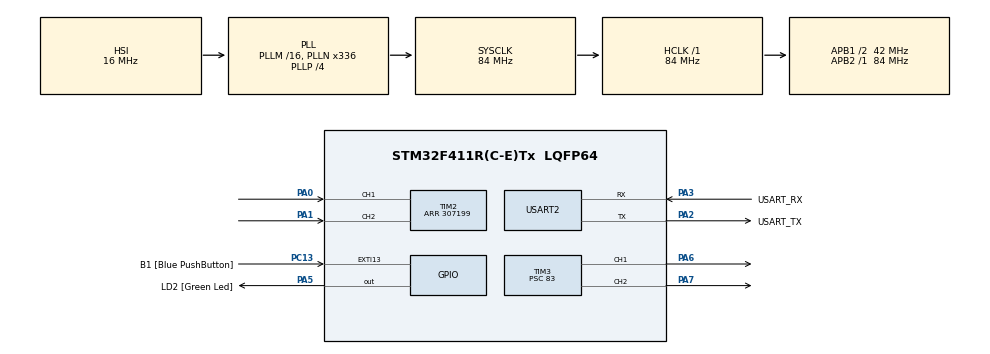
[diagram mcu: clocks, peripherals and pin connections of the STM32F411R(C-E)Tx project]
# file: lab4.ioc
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Mcu.Family=STM32F4
Mcu.Name=STM32F411R(C-E)Tx
Mcu.Package=LQFP64
NVIC.PriorityGroup=NVIC_PRIORITYGROUP_0
NVIC.TIM5_IRQn=true\:0\:0\:false\:false\:true\:true\:true\:true
PA0-WKUP.Signal=S_TIM2_CH1_ETR
PA1.Signal=S_TIM2_CH2
PA13.GPIO_Label=TMS
PA13.Mode=Trace_Asynchronous_SW
PA13.Signal=SYS_JTMS-SWDIO
PA14.GPIO_Label=TCK
PA14.Mode=Trace_Asynchronous_SW
PA14.Signal=SYS_JTCK-SWCLK
PA2.GPIO_Label=USART_TX
PA2.Mode=Asynchronous
PA2.Signal=USART2_TX
PA3.GPIO_Label=USART_RX
PA3.Mode=Asynchronous
PA3.Signal=USART2_RX
PA5.GPIO_Label=LD2 [Green Led]
PA5.Signal=GPIO_Output
PA6.Signal=S_TIM3_CH1
PA7.Signal=S_TIM3_CH2
PB3.GPIO_Label=SWO
PB3.Mode=Trace_Asynchronous_SW
PB3.Signal=SYS_JTDO-SWO
PC13-ANTI_TAMP.GPIO_Label=B1 [Blue PushButton]
PC13-ANTI_TAMP.GPIO_ModeDefaultEXTI=GPIO_MODE_IT_FALLING
PC13-ANTI_TAMP.Signal=GPXTI13
PC14-OSC32_IN.Mode=LSE-External-Oscillator
PC14-OSC32_IN.Signal=RCC_OSC32_IN
PC15-OSC32_OUT.Mode=LSE-External-Oscillator
PC15-OSC32_OUT.Signal=RCC_OSC32_OUT
PH0\ -\ OSC_IN.Mode=HSE-External-Clock-Source
PH0\ -\ OSC_IN.Signal=RCC_OSC_IN
PH1\ -\ OSC_OUT.Mode=HSE-External-Clock-Source
PH1\ -\ OSC_OUT.Signal=RCC_OSC_OUT
ProjectManager.HeapSize=0x200
ProjectManager.StackSize=0x400
ProjectManager.TargetToolchain=STM32CubeIDE
RCC.48MHZClocksFreq_Value=84000000
RCC.AHBFreq_Value=84000000
RCC.APB1CLKDivider=RCC_HCLK_DIV2
RCC.APB1Freq_Value=42000000
RCC.APB1TimFreq_Value=84000000
RCC.APB2Freq_Value=84000000
RCC.APB2TimFreq_Value=84000000
RCC.CortexFreq_Value=84000000
RCC.FLatency-AdvancedSettings=FLASH_LATENCY_2
RCC.HCLKFreq_Value=84000000
RCC.HSE_VALUE=8000000
RCC.HSI_VALUE=16000000
RCC.PLLN=336
RCC.PLLP=RCC_PLLP_DIV4
RCC.SYSCLKFreq_VALUE=84000000
RCC.SYSCLKSource=RCC_SYSCLKSOURCE_PLLCLK
RCC.VCOOutputFreq_Value=336000000
SH.S_TIM2_CH1_ETR.0=TIM2_CH1,Encoder_Interface
SH.S_TIM2_CH2.0=TIM2_CH2,Encoder_Interface
SH.S_TIM3_CH1.0=TIM3_CH1,PWM Generation1 CH1
SH.S_TIM3_CH2.0=TIM3_CH2,PWM Generation2 CH2
TIM2.EncoderMode=TIM_ENCODERMODE_TI12
TIM2.Period=307199
TIM3.Channel-PWM\ Generation1\ CH1=TIM_CHANNEL_1
TIM3.Channel-PWM\ Generation2\ CH2=TIM_CHANNEL_2
TIM3.Period=1000
TIM3.Prescaler=83
TIM3.Pulse-PWM\ Generation1\ CH1=500
TIM3.Pulse-PWM\ Generation2\ CH2=500
TIM5.Prescaler=83
USART2.VirtualMode=VM_ASYNC
VP_TIM3_VS_ClockSourceINT.Mode=Internal
VP_TIM5_VS_ClockSourceINT.Mode=Internal
board=NUCLEO-F411RE

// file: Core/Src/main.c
/* USER CODE BEGIN Header */
/**
  ******************************************************************************
  * @file           : main.c
  * @brief          : Main program body
  ******************************************************************************
  * @attention
  *
  * Copyright (c) 2023 STMicroelectronics.
  * All rights reserved.
  *
  * This software is licensed under terms that can be found in the LICENSE file
  * in the root directory of this software component.
  * If no LICENSE file comes with this software, it is provided AS-IS.
  *
  ******************************************************************************
  */
/* USER CODE END Header */
#include "main.h"

/* USER CODE BEGIN Includes */
#include "math.h"
/* USER CODE END Includes */

TIM_HandleTypeDef htim2;
TIM_HandleTypeDef htim3;
TIM_HandleTypeDef htim5;

UART_HandleTypeDef huart2;

/* USER CODE BEGIN PV */
int32_t QEIReadRaw;
uint64_t _micros = 0;
float kp = 0.0;
float ki = 0.0;
float target_pos = 0.0;
float read_pos = 0.0;
uint32_t curr_t = 0;
uint32_t prev_t = 0;
float dt = 0;
float u = 0;
float pwm = 0;
float e;
float eintegral = 0;
/* USER CODE END PV */

void SystemClock_Config(void);
static void MX_GPIO_Init(void);
static void MX_USART2_UART_Init(void);
static void MX_TIM2_Init(void);
static void MX_TIM5_Init(void);
static void MX_TIM3_Init(void);
/* USER CODE BEGIN PFP */
inline uint64_t micros();
/* USER CODE END PFP */

int main(void)
{

  /* MCU Configuration--------------------------------------------------------*/

  /* Reset of all peripherals, Initializes the Flash interface and the Systick. */
  HAL_Init();

  /* Configure the system clock */
  SystemClock_Config();

  /* Initialize all configured peripherals */
  MX_GPIO_Init();
  MX_USART2_UART_Init();
  MX_TIM2_Init();
  MX_TIM5_Init();
  MX_TIM3_Init();
  /* USER CODE BEGIN 2 */
HAL_TIM_Encoder_Start(&htim2, TIM_CHANNEL_1|TIM_CHANNEL_2);
HAL_TIM_Base_Start(&htim3);
HAL_TIM_PWM_Start(&htim3, TIM_CHANNEL_1);
HAL_TIM_PWM_Start(&htim3, TIM_CHANNEL_2);
  /* USER CODE END 2 */

  /* Infinite loop */
  while (1)
  {
	  static uint32_t timestamp = 0;
	  		  if(HAL_GetTick()>timestamp)
	  		  {
	  			  timestamp = HAL_GetTick() + 50;
	  			  QEIReadRaw = __HAL_TIM_GET_COUNTER(&htim2);
	  			  read_pos = (QEIReadRaw/3072.0)*360.0;
	  			  curr_t = micros();
	  			  dt = (curr_t - prev_t)/1000000.0;
	  			  prev_t = curr_t;

	  			  e = target_pos - read_pos; //error term

	  			  if (!((pwm >= 65535) && ((e >= 0) && (eintegral >= 0) || (e < 0) && (eintegral < 0))))
	  			  {
	  			    eintegral += e * dt; //eintegral term with anti wire up
	  			  }

	  			  u = (kp*e) + (ki*eintegral);
	  			  pwm = fabs(u);

	  			  if(target_pos -read_pos > 0)
	  			  {
	  				  __HAL_TIM_SET_COMPARE(&htim3,TIM_CHANNEL_1,pwm);
	  				  __HAL_TIM_SET_COMPARE(&htim3,TIM_CHANNEL_2,0);
	  			  }
	  			  else if(target_pos - read_pos <0)
	  			  {
	  				  __HAL_TIM_SET_COMPARE(&htim3,TIM_CHANNEL_1,0);
	  				  __HAL_TIM_SET_COMPARE(&htim3,TIM_CHANNEL_2,pwm);
	  			  }
	  		  }
  }
}

void SystemClock_Config(void)
{
  RCC_OscInitTypeDef RCC_OscInitStruct = {0};
  RCC_ClkInitTypeDef RCC_ClkInitStruct = {0};

  /** Configure the main internal regulator output voltage
  */
  __HAL_RCC_PWR_CLK_ENABLE();
  __HAL_PWR_VOLTAGESCALING_CONFIG(PWR_REGULATOR_VOLTAGE_SCALE1);

  /** Initializes the RCC Oscillators according to the specified parameters
  * in the RCC_OscInitTypeDef structure.
  */
  RCC_OscInitStruct.OscillatorType = RCC_OSCILLATORTYPE_HSI;
  RCC_OscInitStruct.HSIState = RCC_HSI_ON;
  RCC_OscInitStruct.HSICalibrationValue = RCC_HSICALIBRATION_DEFAULT;
  RCC_OscInitStruct.PLL.PLLState = RCC_PLL_ON;
  RCC_OscInitStruct.PLL.PLLSource = RCC_PLLSOURCE_HSI;
  RCC_OscInitStruct.PLL.PLLM = 16;
  RCC_OscInitStruct.PLL.PLLN = 336;
  RCC_OscInitStruct.PLL.PLLP = RCC_PLLP_DIV4;
  RCC_OscInitStruct.PLL.PLLQ = 4;
  if (HAL_RCC_OscConfig(&RCC_OscInitStruct) != HAL_OK)
  {
    Error_Handler();
  }

  /** Initializes the CPU, AHB and APB buses clocks
  */
  RCC_ClkInitStruct.ClockType = RCC_CLOCKTYPE_HCLK|RCC_CLOCKTYPE_SYSCLK
                              |RCC_CLOCKTYPE_PCLK1|RCC_CLOCKTYPE_PCLK2;
  RCC_ClkInitStruct.SYSCLKSource = RCC_SYSCLKSOURCE_PLLCLK;
  RCC_ClkInitStruct.AHBCLKDivider = RCC_SYSCLK_DIV1;
  RCC_ClkInitStruct.APB1CLKDivider = RCC_HCLK_DIV2;
  RCC_ClkInitStruct.APB2CLKDivider = RCC_HCLK_DIV1;

  if (HAL_RCC_ClockConfig(&RCC_ClkInitStruct, FLASH_LATENCY_2) != HAL_OK)
  {
    Error_Handler();
  }
}

static void MX_TIM2_Init(void)
{

  TIM_Encoder_InitTypeDef sConfig = {0};
  TIM_MasterConfigTypeDef sMasterConfig = {0};

  htim2.Instance = TIM2;
  htim2.Init.Prescaler = 0;
  htim2.Init.CounterMode = TIM_COUNTERMODE_UP;
  htim2.Init.Period = 307199;
  htim2.Init.ClockDivision = TIM_CLOCKDIVISION_DIV1;
  htim2.Init.AutoReloadPreload = TIM_AUTORELOAD_PRELOAD_DISABLE;
  sConfig.EncoderMode = TIM_ENCODERMODE_TI12;
  sConfig.IC1Polarity = TIM_ICPOLARITY_RISING;
  sConfig.IC1Selection = TIM_ICSELECTION_DIRECTTI;
  sConfig.IC1Prescaler = TIM_ICPSC_DIV1;
  sConfig.IC1Filter = 0;
  sConfig.IC2Polarity = TIM_ICPOLARITY_RISING;
  sConfig.IC2Selection = TIM_ICSELECTION_DIRECTTI;
  sConfig.IC2Prescaler = TIM_ICPSC_DIV1;
  sConfig.IC2Filter = 0;
  if (HAL_TIM_Encoder_Init(&htim2, &sConfig) != HAL_OK)
  {
    Error_Handler();
  }
  sMasterConfig.MasterOutputTrigger = TIM_TRGO_RESET;
  sMasterConfig.MasterSlaveMode = TIM_MASTERSLAVEMODE_DISABLE;
  if (HAL_TIMEx_MasterConfigSynchronization(&htim2, &sMasterConfig) != HAL_OK)
  {
    Error_Handler();
  }

}

static void MX_TIM3_Init(void)
{

  TIM_ClockConfigTypeDef sClockSourceConfig = {0};
  TIM_MasterConfigTypeDef sMasterConfig = {0};
  TIM_OC_InitTypeDef sConfigOC = {0};

  htim3.Instance = TIM3;
  htim3.Init.Prescaler = 83;
  htim3.Init.CounterMode = TIM_COUNTERMODE_UP;
  htim3.Init.Period = 1000;
  htim3.Init.ClockDivision = TIM_CLOCKDIVISION_DIV1;
  htim3.Init.AutoReloadPreload = TIM_AUTORELOAD_PRELOAD_DISABLE;
  if (HAL_TIM_Base_Init(&htim3) != HAL_OK)
  {
    Error_Handler();
  }
  sClockSourceConfig.ClockSource = TIM_CLOCKSOURCE_INTERNAL;
  if (HAL_TIM_ConfigClockSource(&htim3, &sClockSourceConfig) != HAL_OK)
  {
    Error_Handler();
  }
  if (HAL_TIM_PWM_Init(&htim3) != HAL_OK)
  {
    Error_Handler();
  }
  sMasterConfig.MasterOutputTrigger = TIM_TRGO_RESET;
  sMasterConfig.MasterSlaveMode = TIM_MASTERSLAVEMODE_DISABLE;
  if (HAL_TIMEx_MasterConfigSynchronization(&htim3, &sMasterConfig) != HAL_OK)
  {
    Error_Handler();
  }
  sConfigOC.OCMode = TIM_OCMODE_PWM1;
  sConfigOC.Pulse = 500;
  sConfigOC.OCPolarity = TIM_OCPOLARITY_HIGH;
  sConfigOC.OCFastMode = TIM_OCFAST_DISABLE;
  if (HAL_TIM_PWM_ConfigChannel(&htim3, &sConfigOC, TIM_CHANNEL_1) != HAL_OK)
  {
    Error_Handler();
  }
  if (HAL_TIM_PWM_ConfigChannel(&htim3, &sConfigOC, TIM_CHANNEL_2) != HAL_OK)
  {
    Error_Handler();
  }
  HAL_TIM_MspPostInit(&htim3);

}

static void MX_TIM5_Init(void)
{

  TIM_ClockConfigTypeDef sClockSourceConfig = {0};
  TIM_MasterConfigTypeDef sMasterConfig = {0};

  htim5.Instance = TIM5;
  htim5.Init.Prescaler = 83;
  htim5.Init.CounterMode = TIM_COUNTERMODE_UP;
  htim5.Init.Period = 4294967295;
  htim5.Init.ClockDivision = TIM_CLOCKDIVISION_DIV1;
  htim5.Init.AutoReloadPreload = TIM_AUTORELOAD_PRELOAD_DISABLE;
  if (HAL_TIM_Base_Init(&htim5) != HAL_OK)
  {
    Error_Handler();
  }
  sClockSourceConfig.ClockSource = TIM_CLOCKSOURCE_INTERNAL;
  if (HAL_TIM_ConfigClockSource(&htim5, &sClockSourceConfig) != HAL_OK)
  {
    Error_Handler();
  }
  sMasterConfig.MasterOutputTrigger = TIM_TRGO_RESET;
  sMasterConfig.MasterSlaveMode = TIM_MASTERSLAVEMODE_DISABLE;
  if (HAL_TIMEx_MasterConfigSynchronization(&htim5, &sMasterConfig) != HAL_OK)
  {
    Error_Handler();
  }

}

static void MX_USART2_UART_Init(void)
{

  huart2.Instance = USART2;
  huart2.Init.BaudRate = 115200;
  huart2.Init.WordLength = UART_WORDLENGTH_8B;
  huart2.Init.StopBits = UART_STOPBITS_1;
  huart2.Init.Parity = UART_PARITY_NONE;
  huart2.Init.Mode = UART_MODE_TX_RX;
  huart2.Init.HwFlowCtl = UART_HWCONTROL_NONE;
  huart2.Init.OverSampling = UART_OVERSAMPLING_16;
  if (HAL_UART_Init(&huart2) != HAL_OK)
  {
    Error_Handler();
  }

}

static void MX_GPIO_Init(void)
{
  GPIO_InitTypeDef GPIO_InitStruct = {0};

  /* GPIO Ports Clock Enable */
  __HAL_RCC_GPIOC_CLK_ENABLE();
  __HAL_RCC_GPIOH_CLK_ENABLE();
  __HAL_RCC_GPIOA_CLK_ENABLE();
  __HAL_RCC_GPIOB_CLK_ENABLE();

  /*Configure GPIO pin Output Level */
  HAL_GPIO_WritePin(LD2_GPIO_Port, LD2_Pin, GPIO_PIN_RESET);

  /*Configure GPIO pin : B1_Pin */
  GPIO_InitStruct.Pin = B1_Pin;
  GPIO_InitStruct.Mode = GPIO_MODE_IT_FALLING;
  GPIO_InitStruct.Pull = GPIO_NOPULL;
  HAL_GPIO_Init(B1_GPIO_Port, &GPIO_InitStruct);

  /*Configure GPIO pin : LD2_Pin */
  GPIO_InitStruct.Pin = LD2_Pin;
  GPIO_InitStruct.Mode = GPIO_MODE_OUTPUT_PP;
  GPIO_InitStruct.Pull = GPIO_NOPULL;
  GPIO_InitStruct.Speed = GPIO_SPEED_FREQ_LOW;
  HAL_GPIO_Init(LD2_GPIO_Port, &GPIO_InitStruct);

}

/* USER CODE BEGIN 4 */
void HAL_TIM_PeriodElapsedCallback(TIM_HandleTypeDef *htim)
{
	if(htim == &htim5)
	{
		_micros += UINT32_MAX;
	}
}

uint64_t micros()
{
	return __HAL_TIM_GET_COUNTER(&htim5)+_micros;
}

/* USER CODE END 4 */

void Error_Handler(void)
{
  __disable_irq();
  while (1)
  {
  }
}
